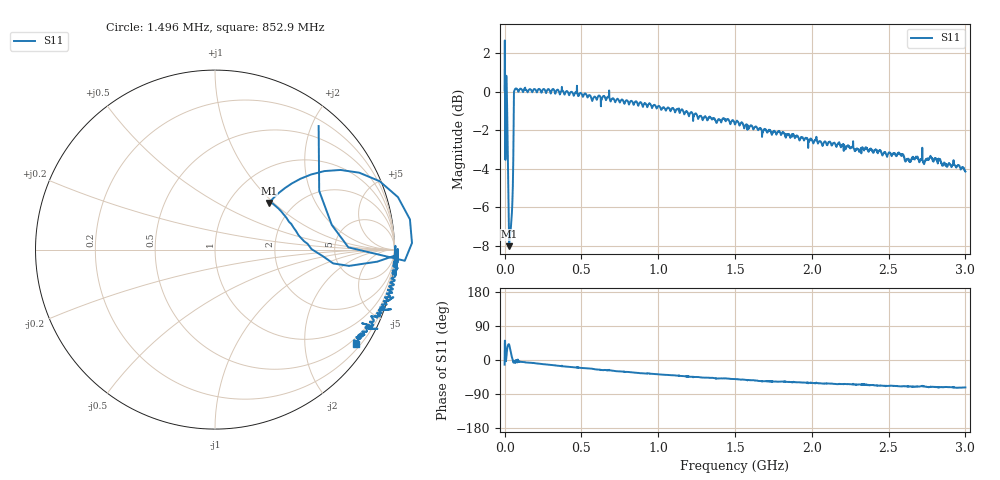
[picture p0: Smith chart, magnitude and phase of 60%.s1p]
# HZ S RI R 50
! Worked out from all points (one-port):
!   2020 points, 10 kHz to 3 GHz, reference 50 ohm
!   lowest |S11| = -8.0 dB at 29.73 MHz (marker M1), VSWR 2.32, Z = 75.6 + j46.7 ohm
!   |S11| at or under -10 dB: nowhere
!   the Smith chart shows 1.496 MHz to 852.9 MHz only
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10000  0.9834 -0.2136
5953516  0.6506 0.1377
1.635467e7  0.8036 0.4285
1.932643e7  0.6095 0.4374
2.378406e7  0.4287 0.369
2.675582e7  0.3579 0.3178
2.972758e7  0.3003 0.26
3.56711e7  0.3684 0.2133
4.161461e7  0.4247 0.1433
5.350164e7  0.5665 -0.015
5.944516e7  0.9038 -0.0673
6.984631e7  1.015 -0.0348
7.578983e7  1.019 0.00289
3.759374e8  0.9649 -0.2852
6.300227e8  0.853 -0.4198
7.503789e8  0.8126 -0.4664
8.751927e8  0.7676 -0.5254
1.126306e9  0.6791 -0.594
1.380392e9  0.5466 -0.6234
1.435369e9  0.5615 -0.6351
1.500748e9  0.5284 -0.6321
1.670138e9  0.4509 -0.6619
1.875189e9  0.4071 -0.6603
2.251117e9  0.3164 -0.6387
2.573552e9  0.2413 -0.6438
2.625558e9  0.2283 -0.6286
2.769688e9  0.2178 -0.6388
3e9  0.1877 -0.5911
